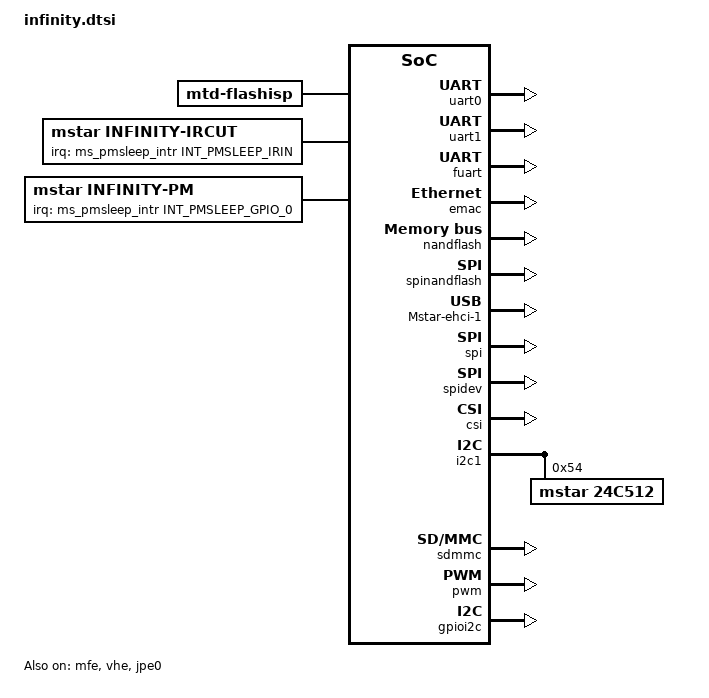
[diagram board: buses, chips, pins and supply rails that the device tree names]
/*
 * Copyright (c) 2014 MundoReader S.L.
 * Author: Matthias Brugger <matthias.bgg@gmail.com>
 *
 * This program is free software; you can redistribute it and/or modify
 * it under the terms of the GNU General Public License as published by
 * the Free Software Foundation; either version 2 of the License, or
 * (at your option) any later version.
 *
 * This program is distributed in the hope that it will be useful,
 * but WITHOUT ANY WARRANTY; without even the implied warranty of
 * MERCHANTABILITY or FITNESS FOR A PARTICULAR PURPOSE.  See the
 * GNU General Public License for more details.
 */

#include <../../../../drivers/mstar/include/infinity/irqs.h>
#include <../../../../drivers/mstar/include/infinity/gpio.h>
#include <dt-bindings/interrupt-controller/irq.h>
#include <dt-bindings/interrupt-controller/arm-gic.h>
#include "skeleton.dtsi"


/ {
    cpus {
        #address-cells = <1>;
        #size-cells = <0>;

        cpu@0 {
            device_type = "cpu";
            compatible = "arm,cortex-a7";
            clocks = <&CLK_cpupll_clk>;
        };
    };

    aliases {
        console = &uart0;
        serial0 = &uart0;
        serial1 = &uart1;
        serial2 = &fuart;
    };

    soc {
        compatible = "simple-bus";
        interrupt-parent = <&gic>;
        #address-cells = <1>;
        #size-cells = <1>;
        ranges;

        gic: interrupt-controller@16000000 {
            compatible = "arm,cortex-a7-gic";
            #interrupt-cells = <3>;
            #address-cells = <1>;
            #size-cells = <1>;
            interrupt-controller;
            reg = <0x16001000 0x1000>,
                  <0x16002000 0x1000>;
        };

        ms_pmsleep_intr: interrupt-controller@0 {
            compatible = "mstar,pmsleep-intr";
            #interrupt-cells = <1>;
            interrupt-parent=<&gic>;
            interrupt-controller;
        };


        arch_timer {
            compatible = "arm,cortex-a7-timer", "arm,armv7-timer";
            interrupts = <GIC_PPI 13 (GIC_CPU_MASK_SIMPLE(2) | IRQ_TYPE_LEVEL_LOW)>,
                         <GIC_PPI 14 (GIC_CPU_MASK_SIMPLE(2) | IRQ_TYPE_LEVEL_LOW)>,
                         <GIC_PPI 11 (GIC_CPU_MASK_SIMPLE(2) | IRQ_TYPE_LEVEL_LOW)>,
                         <GIC_PPI 10 (GIC_CPU_MASK_SIMPLE(2) | IRQ_TYPE_LEVEL_LOW)>;
            clock-frequency = <6000000>;
        };

        pmu {
            compatible = "arm,cortex-a7-pmu";
            interrupts = <GIC_SPI 10 IRQ_TYPE_LEVEL_HIGH>,
                         <GIC_SPI 16 IRQ_TYPE_LEVEL_HIGH>,
                         <GIC_SPI 22 IRQ_TYPE_LEVEL_HIGH>,
                         <GIC_SPI 28 IRQ_TYPE_LEVEL_HIGH>;
        };

        clks: clocks{
            #address-cells = <1>;
            #size-cells = <1>;
            ranges;
        };

/*
        timer_clockevent: timer@1F006040 {
            compatible = "mstar,piu-clockevent";
            reg = <0x1F006040 0x100>;
            interrupts=<GIC_SPI INT_FIQ_TIMER_0 IRQ_TYPE_LEVEL_HIGH>;
            clocks = <&CLK_xtali_12m>;
        };
*/
        mfe: mfe {
            compatible = "mstar,mfe";
            reg = <0x1F264800 0x200>;
            interrupts=<GIC_SPI INT_IRQ_MFE IRQ_TYPE_LEVEL_HIGH>;
            clocks = <&CLK_mfe>,<&GATE_MCM_mfe>, <&GATE_SRAM_mfe>;
            clock-names = "CKG_mfe";
            status = "ok";
        };

        vhe: vhe {
            compatible = "mstar,vhe";
            reg = <0x1F265200 0x200>,<0x1F265000 0x100>;
            interrupts=<GIC_SPI INT_IRQ_VHE IRQ_TYPE_LEVEL_HIGH>;
            clocks = <&CLK_vhe>,<&GATE_MCM_vhe>, <&GATE_SRAM_vhe>;
            clock-names = "CKG_vhe";
            status = "ok";
        };

        hvsp1: hvsp1 {
            compatible = "mstar,hvsp1";
            //reg = <0x1F000000 0x100>;
            //clk,chiptop,hvsp0,sc0,dnr,ldc
            clocks = <&CLK_idclk>,<&CLK_fclk1>,<&CLK_fclk2>,<&CLK_odclk>;
            clock-names = "CLK_idclk","CLK_fclk1","CLK_fclk2","CLK_odclk";
            status = "ok";
            interrupts = <GIC_SPI INT_IRQ_SC_TOP IRQ_TYPE_LEVEL_HIGH>, <GIC_SPI INT_IRQ_CMDQ IRQ_TYPE_LEVEL_HIGH>;
        };

        hvsp2: hvsp2 {
            compatible = "mstar,hvsp2";
            //reg = <0x1F000000 0x100>;
            //clk,chiptop,hvsp0,sc0,dnr,ldc
            clocks = <&CLK_idclk>,<&CLK_fclk1>,<&CLK_fclk2>,<&CLK_odclk>;
            clock-names = "CLK_idclk","CLK_fclk1","CLK_fclk2","CLK_odclk";
            status = "ok";
            interrupts = <GIC_SPI INT_IRQ_SC_TOP IRQ_TYPE_LEVEL_HIGH>, <GIC_SPI INT_IRQ_CMDQ IRQ_TYPE_LEVEL_HIGH>;
        };

        hvsp3: hvsp3 {
            compatible = "mstar,hvsp3";
            //reg = <0x1F000000 0x100>;
            //clk,chiptop,hvsp0,sc0,dnr,ldc
            clocks = <&CLK_idclk>,<&CLK_fclk1>,<&CLK_fclk2>,<&CLK_odclk>;
            clock-names = "CLK_idclk","CLK_fclk1","CLK_fclk2","CLK_odclk";
            status = "ok";
            interrupts = <GIC_SPI INT_IRQ_SC_TOP IRQ_TYPE_LEVEL_HIGH>, <GIC_SPI INT_IRQ_CMDQ IRQ_TYPE_LEVEL_HIGH>;
        };

        scldma1: scldma1 {
            compatible = "mstar,scldma1";
            //reg = <0x1F000000 0x100>;
            //clk,chiptop,scldma
            clocks =  <&CLK_idclk>,<&CLK_fclk1>,<&CLK_fclk2>,<&CLK_odclk>;
            clock-names = "CLK_idclk","CLK_fclk1","CLK_fclk2","CLK_odclk";
            status = "ok";
            interrupts = <GIC_SPI INT_IRQ_SC_TOP IRQ_TYPE_LEVEL_HIGH>;
        };
        scldma2: scldma2 {
            compatible = "mstar,scldma2";
            //reg = <0x1F000000 0x100>;
            //clk,chiptop,scldma
            clocks =  <&CLK_idclk>,<&CLK_fclk1>,<&CLK_fclk2>,<&CLK_odclk>;
            clock-names = "CLK_idclk","CLK_fclk1","CLK_fclk2","CLK_odclk";
            status = "ok";
            interrupts = <GIC_SPI INT_IRQ_SC_TOP IRQ_TYPE_LEVEL_HIGH>;
        };
        scldma3: scldma3 {
            compatible = "mstar,scldma3";
            //reg = <0x1F000000 0x100>;
            //clk,chiptop,scldma
            clocks =  <&CLK_idclk>,<&CLK_fclk1>,<&CLK_fclk2>,<&CLK_odclk>;
            clock-names = "CLK_idclk","CLK_fclk1","CLK_fclk2","CLK_odclk";
            status = "ok";
            interrupts = <GIC_SPI INT_IRQ_SC_TOP IRQ_TYPE_LEVEL_HIGH>;
        };
        scldma4: scldma4 {
            compatible = "mstar,scldma4";
            //reg = <0x1F000000 0x100>;
            //clk,chiptop,scldma
            clocks =  <&CLK_idclk>,<&CLK_fclk1>,<&CLK_fclk2>,<&CLK_odclk>;
            clock-names = "CLK_idclk","CLK_fclk1","CLK_fclk2","CLK_odclk";
            status = "ok";
            interrupts = <GIC_SPI INT_IRQ_SC_TOP IRQ_TYPE_LEVEL_HIGH>;
        };

        vip: vip {
            compatible = "mstar,vip";
            status = "ok";

            //reg = <0x1F224000 0x200>;
        };

        pnl: pnl {
            compatible = "mstar,pnl";
            status = "ok";

            //Reg = <0x1F224000 0x200>;
        };

        uart0: uart@1F221000 {
            compatible = "mstar,uart";
            reg = <0x1F221000 0x100>;
            interrupts = <GIC_SPI INT_IRQ_UART_0 IRQ_TYPE_LEVEL_HIGH>;
            clocks = <&CLK_uart0>;
            status = "ok";
        };
        uart1: uart@1F221200 {
            compatible = "mstar,uart";
            reg = <0x1F221200 0x100>;
            interrupts = <GIC_SPI INT_IRQ_UART_1 IRQ_TYPE_LEVEL_HIGH>;
            clocks = <&CLK_uart1>;
            status = "ok";
        };
        fuart: uart@1F220400 {
            compatible = "mstar,uart";
            reg = <0x1F220400 0x100>, <0x1F220600 0x100>;
            interrupts = <GIC_SPI INT_IRQ_FUART IRQ_TYPE_LEVEL_HIGH>, <GIC_SPI INT_IRQ_URDMA IRQ_TYPE_LEVEL_HIGH>;
            clocks = <&CLK_fuart>;
            dma = <1>;
            status = "ok";
        };

        emac {
            compatible = "mstar-emac";
            interrupts = <GIC_SPI INT_IRQ_EMAC IRQ_TYPE_LEVEL_HIGH>, <GIC_SPI INT_FIQ_LAN_ESD IRQ_TYPE_LEVEL_HIGH>;
            clocks = <&CLK_emac_ahb>,<&CLK_emac_tx>,<&CLK_emac_rx>,<&GATE_MCM_emac>, <&GATE_SRAM_emac>;
        };

        flashisp {
            compatible = "mtd-flashisp";
            clocks = <&CLK_bdma>;
            quadread = <0>;
        };

        nandflash {
            compatible = "ms-nand";
            clocks =<&CLK_fcie>, <&CLK_ecc>, <&GATE_MCM_fcie>, <&GATE_SRAM_fcie>;
            interrupts =  <GIC_SPI INT_IRQ_FCIE IRQ_TYPE_LEVEL_HIGH>;
        };

        spinandflash {
            compatible = "ms-spinand";
            clocks =<&CLK_bdma>;
        };

        Mstar-ehci-1 {
            compatible = "Mstar-ehci-1";
            clocks = <&CLK_usb>, <&GATE_MCM_usb>, <&GATE_SRAM_usb>;
            interrupts = <GIC_SPI INT_IRQ_UHC IRQ_TYPE_LEVEL_HIGH>;
        };

        isp: isp {
            compatible = "isp";
            io_phy_addr = <0x1f000000>;
            banks = <0x1302>,<0x1303>,<0x1304>,<0x1305>,<0x1306>,<0x1307>,<0x1308>,<0x1309>;
            interrupts = <GIC_SPI INT_IRQ_ISP IRQ_TYPE_LEVEL_HIGH>;
            clocks = <&CLK_isp>,<&CLK_sr_mclk>,<&CLK_sr>,<&CLK_csi_mac>;
        };
        spi: spi {
            compatible = "mstar_spi";
            io_phy_addr = <0x1f000000>;
            banks = <0x1110>,<0x1111>,<0x1038>,<0x101E>;
            interrupts = <GIC_SPI INT_IRQ_MSPI_0 IRQ_TYPE_LEVEL_HIGH>,<GIC_SPI INT_IRQ_MSPI_1 IRQ_TYPE_LEVEL_HIGH>;
        };
        spidev: spidev {
            compatible = "spidev";
        };
        csi: csi {
            compatible = "csi";
            io_phy_addr = <0x1f000000>;
            banks = <0x1204>;
            interrupts = <GIC_SPI INT_IRQ_MIPI_CSI2 IRQ_TYPE_LEVEL_HIGH>;
        };

        jpe0: jpe@0x1F264000 {
            compatible = "mstar,cedric-jpe";
            reg = <0x1F264000 0x100>;
            interrupts = <GIC_SPI INT_IRQ_JPE IRQ_TYPE_LEVEL_HIGH>;
			clocks = <&CLK_jpe>,<&GATE_MCM_jpe>, <&GATE_SRAM_jpe>;
			clk-select = <0>; // 0: 288MHz  1: 216MHz  2: 54MHz  3: 27MHz
            status = "ok";
        };

        i2c0: i2c@0{
            compatible = "mstar,i2c";
            reg = <0x1F223000 0x200>,<0x1F203c00 0x200>,<0x1F207000 0x200>;
                #address-cells = <1>;
                #size-cells = <0>;
            clocks = <&CLK_miic0>;
            i2c-group = <0>;
            i2c-speed = <2>;//0~6
             status = "disable";
        };

        i2c1: i2c@1{
            compatible = "mstar,i2c";
            reg = <0x1F223200 0x200>,<0x1F203c00 0x200>,<0x1F207000 0x200>;
                #address-cells = <1>;
                #size-cells = <0>;
            clocks = <&CLK_miic1>;
            i2c-group = <1>;
            i2c-speed = <2>;//0~6
              24c512@54 {
            compatible = "mstar,24c512";
            reg = <0x54>;
            };
        };

        gpio:gpio{
            compatible = "mstar,gpio";
            reg = <0x1F207800 0x200>,<0x1F203C00 0x200>,<0x1F001E00 0x200>,<0x1F001C00 0x200>;
            gpio-num = <102>;
        };

        sound {
            compatible = "mstar,infinity-audio";
//            reg = <0x1F000000 0x1000000>;
            interrupts=<GIC_SPI INT_IRQ_BACH IRQ_TYPE_LEVEL_HIGH>;
            playback-volume-level=<64>;    //0~76
            capture-volume-level=<64>;
            micin-gain-sel=<11>;    //0~31
            linein-gain-level=<2>;//0~7
            clocks = <&CLK_usb>, <&GATE_MCM_bach>, <&GATE_SRAM_bach>;
        };

        sdmmc {
            compatible = "mstar,sdmmc";
            interrupts=<GIC_SPI INT_IRQ_SDIO IRQ_TYPE_LEVEL_HIGH>,
                       <GIC_SPI INT_FIQ_SD_CDZ IRQ_TYPE_LEVEL_HIGH>,
                       <GIC_SPI INT_IRQ_FCIE IRQ_TYPE_LEVEL_HIGH>,
                       <GIC_SPI INT_FIQ_SD_CDZ IRQ_TYPE_LEVEL_HIGH>;
                       //<mie1>,<cdz1>,<mie2, cdz2>....  fice1->fice2->fice3 setting
            clocks = <&CLK_sdio>,<&GATE_MCM_sdio>,<&GATE_SRAM_sdio>,<&CLK_fcie>,<&GATE_MCM_fcie>,<&GATE_SRAM_fcie>;
        };

        aesdma {
            compatible = "mstar,infinity-aes";
            clocks = <&CLK_aesdma>,<&GATE_MCM_aesdma>, <&GATE_SRAM_aesdma>;
        };

        gop{
            compatible = "mstar,infinity-gop";
            clocks = <&CLK_gop_psram>,<&CLK_fclk1>,<&GATE_MCM_gop>, <&GATE_SRAM_gop>;
        };

        rtc {
            compatible = "mstar,infinity-rtc";
            reg = <0x1F002400 0x40>;
            interrupts=<GIC_SPI INT_IRQ_RTC IRQ_TYPE_LEVEL_HIGH>;
            clocks = <&CLK_rtc>;
        };

        cpufreq {
            compatible = "mstar,infinity-cpufreq";
        };

        watchdog: watchdog {
            compatible = "mstar,infinity-wdt";
            reg = <0x1F006000 0x40>;
        };

        sar: sar {
            compatible = "mstar,infinity-sar";
            reg = <0x1F002800 0x200>;
        };

        ircut {
            compatible = "mstar,infinity-ircut";
            ircut-gpio-num = <PAD_PM_IRIN>;///PM_GPIO_IRIN
            interrupt-parent = <&ms_pmsleep_intr>;
            interrupts = <INT_PMSLEEP_IRIN>;
        };

        pwm {
            compatible = "mstar,infinity-pwm";
        };

        gpioi2c {
            compatible = "mstar,infinity-gpioi2c";
            sda-gpio = <PAD_GPIO8>;
            scl-gpio = <PAD_GPIO9>;
        };

        pm {
            compatible = "mstar,infinity-pm";
            interrupt-parent = <&ms_pmsleep_intr>;
            interrupts = <INT_PMSLEEP_GPIO_0>;
            detect-gpio = <PAD_PM_GPIO0>;
        };
    };
};

&clks {
    #include <../../../../drivers/mstar/include/infinity/reg_clks.h>
    #include "infinity-clks.dtsi"
    #include "infinity-gates.dtsi"
};

